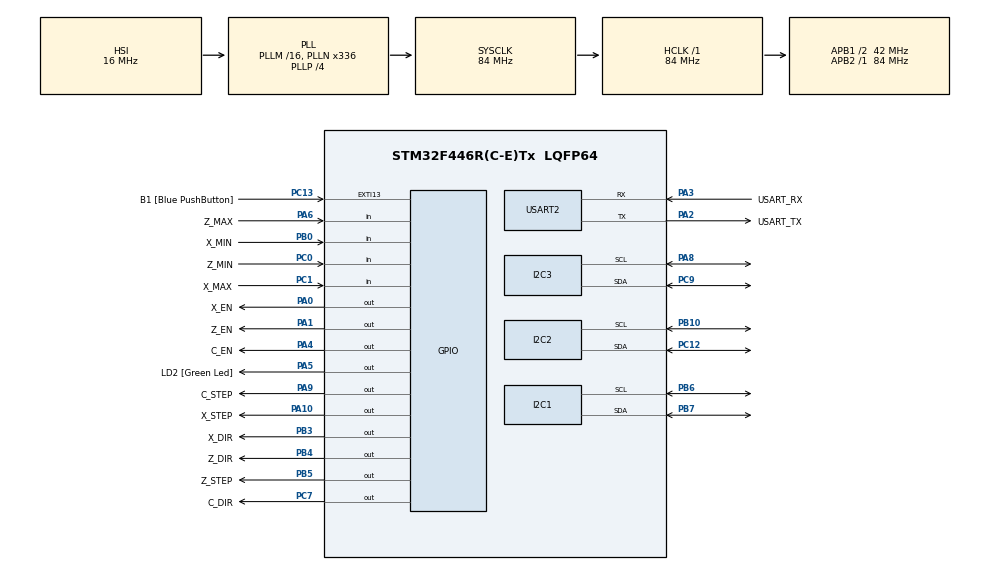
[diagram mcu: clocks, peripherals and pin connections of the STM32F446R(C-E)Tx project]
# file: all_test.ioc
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Mcu.Family=STM32F4
Mcu.Name=STM32F446R(C-E)Tx
Mcu.Package=LQFP64
NVIC.PriorityGroup=NVIC_PRIORITYGROUP_0
PA0-WKUP.GPIO_Label=X_EN
PA0-WKUP.Signal=GPIO_Output
PA1.GPIO_Label=Z_EN
PA1.Signal=GPIO_Output
PA10.GPIO_Label=X_STEP
PA10.Signal=GPIO_Output
PA13.GPIO_Label=TMS
PA13.Mode=Serial_Wire
PA13.Signal=SYS_JTMS-SWDIO
PA14.GPIO_Label=TCK
PA14.Mode=Serial_Wire
PA14.Signal=SYS_JTCK-SWCLK
PA2.GPIO_Label=USART_TX
PA2.Mode=Asynchronous
PA2.Signal=USART2_TX
PA3.GPIO_Label=USART_RX
PA3.Mode=Asynchronous
PA3.Signal=USART2_RX
PA4.GPIO_Label=C_EN
PA4.Signal=GPIO_Output
PA5.GPIO_Label=LD2 [Green Led]
PA5.Signal=GPIO_Output
PA6.GPIO_Label=Z_MAX
PA6.GPIO_Mode=GPIO_MODE_INPUT
PA6.GPIO_PuPd=GPIO_PULLUP
PA6.Signal=GPIO_Input
PA8.Mode=I2C
PA8.Signal=I2C3_SCL
PA9.GPIO_Label=C_STEP
PA9.Signal=GPIO_Output
PB0.GPIO_Label=X_MIN
PB0.GPIO_Mode=GPIO_MODE_INPUT
PB0.GPIO_PuPd=GPIO_PULLUP
PB0.Signal=GPIO_Input
PB10.Mode=I2C
PB10.Signal=I2C2_SCL
PB3.GPIO_Label=X_DIR
PB3.Signal=GPIO_Output
PB4.GPIO_Label=Z_DIR
PB4.GPIO_PuPd=GPIO_NOPULL
PB4.Signal=GPIO_Output
PB5.GPIO_Label=Z_STEP
PB5.Signal=GPIO_Output
PB6.Mode=I2C
PB6.Signal=I2C1_SCL
PB7.Mode=I2C
PB7.Signal=I2C1_SDA
PC0.GPIO_Label=Z_MIN
PC0.GPIO_Mode=GPIO_MODE_INPUT
PC0.GPIO_PuPd=GPIO_PULLUP
PC0.Signal=GPIO_Input
PC1.GPIO_Label=X_MAX
PC1.GPIO_Mode=GPIO_MODE_INPUT
PC1.GPIO_PuPd=GPIO_PULLUP
PC1.Signal=GPIO_Input
PC12.Mode=I2C
PC12.Signal=I2C2_SDA
PC13.GPIO_Label=B1 [Blue PushButton]
PC13.GPIO_ModeDefaultEXTI=GPIO_MODE_IT_FALLING
PC13.Signal=GPXTI13
PC14-OSC32_IN.Mode=LSE-External-Oscillator
PC14-OSC32_IN.Signal=RCC_OSC32_IN
PC15-OSC32_OUT.Mode=LSE-External-Oscillator
PC15-OSC32_OUT.Signal=RCC_OSC32_OUT
PC7.GPIO_Label=C_DIR
PC7.Signal=GPIO_Output
PC9.Mode=I2C
PC9.Signal=I2C3_SDA
PH0-OSC_IN.Mode=HSE-External-Oscillator
PH0-OSC_IN.Signal=RCC_OSC_IN
PH1-OSC_OUT.Mode=HSE-External-Oscillator
PH1-OSC_OUT.Signal=RCC_OSC_OUT
ProjectManager.HeapSize=0x200
ProjectManager.StackSize=0x400
ProjectManager.TargetToolchain=STM32CubeIDE
RCC.48MHZClocksFreq_Value=84000000
RCC.AHBFreq_Value=84000000
RCC.APB1CLKDivider=RCC_HCLK_DIV2
RCC.APB1Freq_Value=42000000
RCC.APB1TimFreq_Value=84000000
RCC.APB2Freq_Value=84000000
RCC.APB2TimFreq_Value=84000000
RCC.CortexFreq_Value=84000000
RCC.FLatency-AdvancedSettings=FLASH_LATENCY_2
RCC.HCLKFreq_Value=84000000
RCC.HSE_VALUE=8000000
RCC.HSI_VALUE=16000000
RCC.PLLN=336
RCC.PLLP=RCC_PLLP_DIV4
RCC.SYSCLKFreq_VALUE=84000000
RCC.SYSCLKSource=RCC_SYSCLKSOURCE_PLLCLK
RCC.USBFreq_Value=168000000
RCC.VCOOutputFreq_Value=336000000
USART2.VirtualMode=VM_ASYNC
board=NUCLEO-F446RE

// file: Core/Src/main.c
/* USER CODE BEGIN Header */
/**
  ******************************************************************************
  * @file           : main.c
  * @brief          : Main program body
  ******************************************************************************
  * @attention
  *
  * Copyright (c) 2026 STMicroelectronics.
  * All rights reserved.
  *
  * This software is licensed under terms that can be found in the LICENSE file
  * in the root directory of this software component.
  * If no LICENSE file comes with this software, it is provided AS-IS.
  *
  ******************************************************************************
  */
/* USER CODE END Header */
#include "main.h"

/* USER CODE BEGIN Includes */
#include <string.h>
#include <stdio.h>
#include <stdint.h>
/* USER CODE END Includes */

I2C_HandleTypeDef hi2c1;
I2C_HandleTypeDef hi2c2;
I2C_HandleTypeDef hi2c3;

UART_HandleTypeDef huart2;

void SystemClock_Config(void);
static void MX_GPIO_Init(void);
static void MX_I2C1_Init(void);
static void MX_I2C2_Init(void);
static void MX_I2C3_Init(void);
static void MX_USART2_UART_Init(void);

/* USER CODE BEGIN 0 */

	#define AS5600_ADDR        (0x36 << 1)
	#define AS5600_RAW_ANGLE_H 0x0C

	#define STEP_PULSE_US      5

	/*
	   LIMIT SWITCH CONNECTION:
	   Switch type: NO + C
	   CubeMX input: GPIO Input + Pull-Up

	   Normal state: HIGH
	   Triggered:    LOW

	   So active state is GPIO_PIN_RESET.
	*/
	#define LIMIT_ACTIVE_STATE GPIO_PIN_RESET
	#define USE_LIMITS 1

	/*
	   All drivers are configured as 1/64 microstepping.
	*/
	#define FULL_STEPS_PER_REV 200
	#define X_MICROSTEPS 64
	#define Z_MICROSTEPS 64
	#define C_MICROSTEPS 64

	#define X_STEPS_PER_REV (FULL_STEPS_PER_REV * X_MICROSTEPS)
	#define Z_STEPS_PER_REV (FULL_STEPS_PER_REV * Z_MICROSTEPS)
	#define C_STEPS_PER_REV (FULL_STEPS_PER_REV * C_MICROSTEPS)

	/*
	   C axis has no limit switch.
	   It will rotate 1 revolution forward, then 1 revolution backward.
	*/
	#define C_SOFT_LIMIT_STEPS C_STEPS_PER_REV

	typedef struct
	{
		const char *name;

		GPIO_TypeDef *stepPort;
		uint16_t stepPin;

		GPIO_TypeDef *dirPort;
		uint16_t dirPin;

		GPIO_TypeDef *enPort;
		uint16_t enPin;

		I2C_HandleTypeDef *hi2c;

		int32_t stepsPerRev;
		uint32_t stepIntervalUs;

		int8_t dir;
		int8_t dirInvert;
		int8_t encSign;

		int32_t cmdSteps;

		uint16_t lastRaw;
		int32_t encCounts;
		uint8_t encOk;

		uint32_t lastStepUs;

	} Axis_t;

	static uint32_t cyclesPerUs = 84;
	static uint32_t lastPrintMs = 0;

	/*
	   AXIS ORDER:
	   axis[0] = X
	   axis[1] = Z
	   axis[2] = C
	*/
	static Axis_t axis[3] =
	{
		{
			"X",
			GPIOA, GPIO_PIN_10,   // X_STEP PA10
			GPIOB, GPIO_PIN_3,    // X_DIR  PB3
			GPIOA, GPIO_PIN_0,    // X_EN   PA0
			&hi2c1,               // AS5600 X
			X_STEPS_PER_REV,
			2500,                 // step interval us; 1/64 olduğu için güvenli yavaş hız
			1,
			0,
			1,
			0,
			0,
			0,
			0,
			0
		},
		{
			"Z",
			GPIOB, GPIO_PIN_5,    // Z_STEP PB5
			GPIOB, GPIO_PIN_4,    // Z_DIR  PB4
			GPIOA, GPIO_PIN_1,    // Z_EN   PA1
			&hi2c2,               // AS5600 Z
			Z_STEPS_PER_REV,
			2500,
			1,
			0,
			1,
			0,
			0,
			0,
			0,
			0
		},
		{
			"C",
			GPIOA, GPIO_PIN_9,    // C_STEP PA9
			GPIOC, GPIO_PIN_7,    // C_DIR  PC7
			GPIOA, GPIO_PIN_4,    // C_EN   PA4
			&hi2c3,               // AS5600 C
			C_STEPS_PER_REV,
			2000,
			1,
			0,
			1,
			0,
			0,
			0,
			0,
			0
		}
	};

	static void DWT_Init_Custom(void)
	{
		cyclesPerUs = HAL_RCC_GetHCLKFreq() / 1000000UL;

		CoreDebug->DEMCR |= CoreDebug_DEMCR_TRCENA_Msk;
		DWT->CYCCNT = 0;
		DWT->CTRL |= DWT_CTRL_CYCCNTENA_Msk;
	}

	static uint32_t micros_custom(void)
	{
		return DWT->CYCCNT / cyclesPerUs;
	}

	static void delay_us_custom(uint32_t us)
	{
		uint32_t start = DWT->CYCCNT;
		uint32_t cycles = us * cyclesPerUs;

		while ((uint32_t)(DWT->CYCCNT - start) < cycles)
		{
			// wait
		}
	}

	static void UART_Print(const char *s)
	{
		HAL_UART_Transmit(&huart2, (uint8_t*)s, strlen(s), 100);
	}

	static uint8_t AS5600_ReadRaw(I2C_HandleTypeDef *hi2c, uint16_t *raw)
	{
		uint8_t data[2];

		HAL_StatusTypeDef status = HAL_I2C_Mem_Read(
			hi2c,
			AS5600_ADDR,
			AS5600_RAW_ANGLE_H,
			I2C_MEMADD_SIZE_8BIT,
			data,
			2,
			20
		);

		if (status != HAL_OK)
		{
			return 0;
		}

		*raw = ((uint16_t)data[0] << 8) | data[1];
		*raw &= 0x0FFF;

		return 1;
	}

	static int32_t abs_i32(int32_t x)
	{
		return (x < 0) ? -x : x;
	}

	static void format_x100(char *buf, uint32_t len, int32_t value)
	{
		char sign = '+';

		if (value < 0)
		{
			sign = '-';
			value = -value;
		}

		snprintf(buf, len, "%c%ld.%02ld",
				 sign,
				 (long)(value / 100),
				 (long)(value % 100));
	}

	static void Axis_SetDir(Axis_t *a, int8_t dir)
	{
		if (dir >= 0)
		{
			a->dir = 1;
		}
		else
		{
			a->dir = -1;
		}

		GPIO_PinState state;

		if (a->dir > 0)
		{
			state = GPIO_PIN_SET;
		}
		else
		{
			state = GPIO_PIN_RESET;
		}

		if (a->dirInvert)
		{
			state = (state == GPIO_PIN_SET) ? GPIO_PIN_RESET : GPIO_PIN_SET;
		}

		HAL_GPIO_WritePin(a->dirPort, a->dirPin, state);
	}

	static void Axis_Enable(Axis_t *a)
	{
		// TMC EN active LOW
		HAL_GPIO_WritePin(a->enPort, a->enPin, GPIO_PIN_RESET);
	}

	static void Axis_Disable(Axis_t *a)
	{
		HAL_GPIO_WritePin(a->enPort, a->enPin, GPIO_PIN_SET);
	}

	static void Axis_Init(Axis_t *a)
	{
		HAL_GPIO_WritePin(a->stepPort, a->stepPin, GPIO_PIN_RESET);
		Axis_SetDir(a, a->dir);
		Axis_Enable(a);

		uint16_t raw;

		if (AS5600_ReadRaw(a->hi2c, &raw))
		{
			a->lastRaw = raw;
			a->encCounts = 0;
			a->encOk = 1;
		}
		else
		{
			a->lastRaw = 0;
			a->encCounts = 0;
			a->encOk = 0;
		}

		a->cmdSteps = 0;
		a->lastStepUs = micros_custom();
	}

	static void Axis_UpdateEncoder(Axis_t *a)
	{
		uint16_t raw;

		if (!AS5600_ReadRaw(a->hi2c, &raw))
		{
			a->encOk = 0;
			return;
		}

		int16_t diff = (int16_t)raw - (int16_t)a->lastRaw;

		if (diff > 2048)
		{
			diff -= 4096;
		}
		else if (diff < -2048)
		{
			diff += 4096;
		}

		a->encCounts += diff;
		a->lastRaw = raw;
		a->encOk = 1;
	}

	static void Axis_StepIfDue(Axis_t *a, uint32_t nowUs)
	{
		if ((uint32_t)(nowUs - a->lastStepUs) >= a->stepIntervalUs)
		{
			a->lastStepUs = nowUs;

			HAL_GPIO_WritePin(a->stepPort, a->stepPin, GPIO_PIN_SET);
			delay_us_custom(STEP_PULSE_US);
			HAL_GPIO_WritePin(a->stepPort, a->stepPin, GPIO_PIN_RESET);

			a->cmdSteps += a->dir;
		}
	}

	static uint8_t Limit_IsActive(GPIO_TypeDef *port, uint16_t pin)
	{
	#if USE_LIMITS
		return (HAL_GPIO_ReadPin(port, pin) == LIMIT_ACTIVE_STATE);
	#else
		return 0;
	#endif
	}

	static void Check_Limits_And_Reverse(void)
	{
		uint8_t xMin = Limit_IsActive(GPIOB, GPIO_PIN_0); // X_MIN PB0
		uint8_t xMax = Limit_IsActive(GPIOC, GPIO_PIN_1); // X_MAX PC1

		if (xMin && axis[0].dir < 0)
		{
			Axis_SetDir(&axis[0], +1);
		}

		if (xMax && axis[0].dir > 0)
		{
			Axis_SetDir(&axis[0], -1);
		}

		uint8_t zMin = Limit_IsActive(GPIOC, GPIO_PIN_0); // Z_MIN PC0
		uint8_t zMax = Limit_IsActive(GPIOA, GPIO_PIN_6); // Z_MAX PA6

		if (zMin && axis[1].dir < 0)
		{
			Axis_SetDir(&axis[1], +1);
		}

		if (zMax && axis[1].dir > 0)
		{
			Axis_SetDir(&axis[1], -1);
		}

		if (axis[2].cmdSteps >= C_SOFT_LIMIT_STEPS && axis[2].dir > 0)
		{
			Axis_SetDir(&axis[2], -1);
		}

		if (axis[2].cmdSteps <= -C_SOFT_LIMIT_STEPS && axis[2].dir < 0)
		{
			Axis_SetDir(&axis[2], +1);
		}
	}

	static void Print_Axis_Status(Axis_t *a)
	{
		char line[240];

		Axis_UpdateEncoder(a);

		int32_t expected_x100 =
			(int32_t)(((int64_t)a->cmdSteps * 36000LL) / a->stepsPerRev);

		int32_t measured_x100 =
			(int32_t)(((int64_t)a->encCounts * 36000LL) / 4096LL);

		measured_x100 *= a->encSign;

		int32_t error_x100 = measured_x100 - expected_x100;

		char expStr[20];
		char encStr[20];
		char errStr[20];

		format_x100(expStr, sizeof(expStr), expected_x100);
		format_x100(encStr, sizeof(encStr), measured_x100);
		format_x100(errStr, sizeof(errStr), error_x100);

		uint32_t absExpected = abs_i32(expected_x100);
		uint32_t absError = abs_i32(error_x100);

		if (a->encOk && absExpected > 100)
		{
			uint32_t errPct_x100 = (absError * 10000UL) / absExpected;

			snprintf(line, sizeof(line),
					 "%s | CMD:%s deg | ENC:%s deg | ERR:%s deg | ERR:%lu.%02lu%% | DIR:%+d\r\n",
					 a->name,
					 expStr,
					 encStr,
					 errStr,
					 (unsigned long)(errPct_x100 / 100),
					 (unsigned long)(errPct_x100 % 100),
					 a->dir);
		}
		else if (a->encOk)
		{
			snprintf(line, sizeof(line),
					 "%s | CMD:%s deg | ENC:%s deg | ERR:%s deg | ERR:-- | DIR:%+d\r\n",
					 a->name,
					 expStr,
					 encStr,
					 errStr,
					 a->dir);
		}
		else
		{
			snprintf(line, sizeof(line),
					 "%s | CMD:%s deg | ENC:ERR | DIR:%+d\r\n",
					 a->name,
					 expStr,
					 a->dir);
		}

		UART_Print(line);
	}

	static void Print_All_Status(void)
	{
		char header[180];

		uint8_t xMin = Limit_IsActive(GPIOB, GPIO_PIN_0);
		uint8_t xMax = Limit_IsActive(GPIOC, GPIO_PIN_1);
		uint8_t zMin = Limit_IsActive(GPIOC, GPIO_PIN_0);
		uint8_t zMax = Limit_IsActive(GPIOA, GPIO_PIN_6);

		snprintf(header, sizeof(header),
				 "\r\nLIMITS | X_MIN:%u X_MAX:%u Z_MIN:%u Z_MAX:%u\r\n",
				 xMin, xMax, zMin, zMax);

		UART_Print(header);

		Print_Axis_Status(&axis[0]);
		Print_Axis_Status(&axis[1]);
		Print_Axis_Status(&axis[2]);
	}

/* USER CODE END 0 */

int main(void)
{

  /* MCU Configuration--------------------------------------------------------*/

  /* Reset of all peripherals, Initializes the Flash interface and the Systick. */
  HAL_Init();

  /* Configure the system clock */
  SystemClock_Config();

  /* Initialize all configured peripherals */
  MX_GPIO_Init();
  MX_I2C1_Init();
  MX_I2C2_Init();
  MX_I2C3_Init();
  MX_USART2_UART_Init();
  /* USER CODE BEGIN 2 */

  DWT_Init_Custom();

  HAL_Delay(500);

  Axis_Init(&axis[0]);
  Axis_Init(&axis[1]);
  Axis_Init(&axis[2]);

  UART_Print("\r\nSystem motor + encoder comparison test started.\r\n");
  UART_Print("Switch type: NO + C, Pull-Up, active LOW.\r\n");
  UART_Print("All axes microstep: 1/64.\r\n");
  UART_Print("TMC EN active LOW. Motors enabled.\r\n");
  UART_Print("If encoder direction is opposite, change encSign from 1 to -1 for that axis.\r\n\r\n");

  lastPrintMs = HAL_GetTick();

  /* USER CODE END 2 */

  /* Infinite loop */
  while (1)
  {

    /* USER CODE BEGIN 3 */
	  uint32_t nowUs = micros_custom();

	  Check_Limits_And_Reverse();

	  Axis_StepIfDue(&axis[0], nowUs);
	  Axis_StepIfDue(&axis[1], nowUs);
	  Axis_StepIfDue(&axis[2], nowUs);

	  if ((HAL_GetTick() - lastPrintMs) >= 500)
	  {
	      lastPrintMs = HAL_GetTick();
	      Print_All_Status();
	  }
  }
  /* USER CODE END 3 */
}

void SystemClock_Config(void)
{
  RCC_OscInitTypeDef RCC_OscInitStruct = {0};
  RCC_ClkInitTypeDef RCC_ClkInitStruct = {0};

  /** Configure the main internal regulator output voltage
  */
  __HAL_RCC_PWR_CLK_ENABLE();
  __HAL_PWR_VOLTAGESCALING_CONFIG(PWR_REGULATOR_VOLTAGE_SCALE3);

  /** Initializes the RCC Oscillators according to the specified parameters
  * in the RCC_OscInitTypeDef structure.
  */
  RCC_OscInitStruct.OscillatorType = RCC_OSCILLATORTYPE_HSI;
  RCC_OscInitStruct.HSIState = RCC_HSI_ON;
  RCC_OscInitStruct.HSICalibrationValue = RCC_HSICALIBRATION_DEFAULT;
  RCC_OscInitStruct.PLL.PLLState = RCC_PLL_ON;
  RCC_OscInitStruct.PLL.PLLSource = RCC_PLLSOURCE_HSI;
  RCC_OscInitStruct.PLL.PLLM = 16;
  RCC_OscInitStruct.PLL.PLLN = 336;
  RCC_OscInitStruct.PLL.PLLP = RCC_PLLP_DIV4;
  RCC_OscInitStruct.PLL.PLLQ = 2;
  RCC_OscInitStruct.PLL.PLLR = 2;
  if (HAL_RCC_OscConfig(&RCC_OscInitStruct) != HAL_OK)
  {
    Error_Handler();
  }

  /** Initializes the CPU, AHB and APB buses clocks
  */
  RCC_ClkInitStruct.ClockType = RCC_CLOCKTYPE_HCLK|RCC_CLOCKTYPE_SYSCLK
                              |RCC_CLOCKTYPE_PCLK1|RCC_CLOCKTYPE_PCLK2;
  RCC_ClkInitStruct.SYSCLKSource = RCC_SYSCLKSOURCE_PLLCLK;
  RCC_ClkInitStruct.AHBCLKDivider = RCC_SYSCLK_DIV1;
  RCC_ClkInitStruct.APB1CLKDivider = RCC_HCLK_DIV2;
  RCC_ClkInitStruct.APB2CLKDivider = RCC_HCLK_DIV1;

  if (HAL_RCC_ClockConfig(&RCC_ClkInitStruct, FLASH_LATENCY_2) != HAL_OK)
  {
    Error_Handler();
  }
}

static void MX_I2C1_Init(void)
{

  hi2c1.Instance = I2C1;
  hi2c1.Init.ClockSpeed = 100000;
  hi2c1.Init.DutyCycle = I2C_DUTYCYCLE_2;
  hi2c1.Init.OwnAddress1 = 0;
  hi2c1.Init.AddressingMode = I2C_ADDRESSINGMODE_7BIT;
  hi2c1.Init.DualAddressMode = I2C_DUALADDRESS_DISABLE;
  hi2c1.Init.OwnAddress2 = 0;
  hi2c1.Init.GeneralCallMode = I2C_GENERALCALL_DISABLE;
  hi2c1.Init.NoStretchMode = I2C_NOSTRETCH_DISABLE;
  if (HAL_I2C_Init(&hi2c1) != HAL_OK)
  {
    Error_Handler();
  }

}

static void MX_I2C2_Init(void)
{

  hi2c2.Instance = I2C2;
  hi2c2.Init.ClockSpeed = 100000;
  hi2c2.Init.DutyCycle = I2C_DUTYCYCLE_2;
  hi2c2.Init.OwnAddress1 = 0;
  hi2c2.Init.AddressingMode = I2C_ADDRESSINGMODE_7BIT;
  hi2c2.Init.DualAddressMode = I2C_DUALADDRESS_DISABLE;
  hi2c2.Init.OwnAddress2 = 0;
  hi2c2.Init.GeneralCallMode = I2C_GENERALCALL_DISABLE;
  hi2c2.Init.NoStretchMode = I2C_NOSTRETCH_DISABLE;
  if (HAL_I2C_Init(&hi2c2) != HAL_OK)
  {
    Error_Handler();
  }

}

static void MX_I2C3_Init(void)
{

  hi2c3.Instance = I2C3;
  hi2c3.Init.ClockSpeed = 100000;
  hi2c3.Init.DutyCycle = I2C_DUTYCYCLE_2;
  hi2c3.Init.OwnAddress1 = 0;
  hi2c3.Init.AddressingMode = I2C_ADDRESSINGMODE_7BIT;
  hi2c3.Init.DualAddressMode = I2C_DUALADDRESS_DISABLE;
  hi2c3.Init.OwnAddress2 = 0;
  hi2c3.Init.GeneralCallMode = I2C_GENERALCALL_DISABLE;
  hi2c3.Init.NoStretchMode = I2C_NOSTRETCH_DISABLE;
  if (HAL_I2C_Init(&hi2c3) != HAL_OK)
  {
    Error_Handler();
  }

}

static void MX_USART2_UART_Init(void)
{

  huart2.Instance = USART2;
  huart2.Init.BaudRate = 115200;
  huart2.Init.WordLength = UART_WORDLENGTH_8B;
  huart2.Init.StopBits = UART_STOPBITS_1;
  huart2.Init.Parity = UART_PARITY_NONE;
  huart2.Init.Mode = UART_MODE_TX_RX;
  huart2.Init.HwFlowCtl = UART_HWCONTROL_NONE;
  huart2.Init.OverSampling = UART_OVERSAMPLING_16;
  if (HAL_UART_Init(&huart2) != HAL_OK)
  {
    Error_Handler();
  }

}

static void MX_GPIO_Init(void)
{
  GPIO_InitTypeDef GPIO_InitStruct = {0};

  /* GPIO Ports Clock Enable */
  __HAL_RCC_GPIOC_CLK_ENABLE();
  __HAL_RCC_GPIOH_CLK_ENABLE();
  __HAL_RCC_GPIOA_CLK_ENABLE();
  __HAL_RCC_GPIOB_CLK_ENABLE();

  /*Configure GPIO pin Output Level */
  HAL_GPIO_WritePin(GPIOA, X_EN_Pin|Z_EN_Pin|C_EN_Pin|LD2_Pin
                          |C_STEP_Pin|X_STEP_Pin, GPIO_PIN_RESET);

  /*Configure GPIO pin Output Level */
  HAL_GPIO_WritePin(C_DIR_GPIO_Port, C_DIR_Pin, GPIO_PIN_RESET);

  /*Configure GPIO pin Output Level */
  HAL_GPIO_WritePin(GPIOB, X_DIR_Pin|Z_DIR_Pin|Z_STEP_Pin, GPIO_PIN_RESET);

  /*Configure GPIO pin : B1_Pin */
  GPIO_InitStruct.Pin = B1_Pin;
  GPIO_InitStruct.Mode = GPIO_MODE_IT_FALLING;
  GPIO_InitStruct.Pull = GPIO_NOPULL;
  HAL_GPIO_Init(B1_GPIO_Port, &GPIO_InitStruct);

  /*Configure GPIO pins : Z_MIN_Pin X_MAX_Pin */
  GPIO_InitStruct.Pin = Z_MIN_Pin|X_MAX_Pin;
  GPIO_InitStruct.Mode = GPIO_MODE_INPUT;
  GPIO_InitStruct.Pull = GPIO_PULLUP;
  HAL_GPIO_Init(GPIOC, &GPIO_InitStruct);

  /*Configure GPIO pins : X_EN_Pin Z_EN_Pin C_EN_Pin LD2_Pin
                           C_STEP_Pin X_STEP_Pin */
  GPIO_InitStruct.Pin = X_EN_Pin|Z_EN_Pin|C_EN_Pin|LD2_Pin
                          |C_STEP_Pin|X_STEP_Pin;
  GPIO_InitStruct.Mode = GPIO_MODE_OUTPUT_PP;
  GPIO_InitStruct.Pull = GPIO_NOPULL;
  GPIO_InitStruct.Speed = GPIO_SPEED_FREQ_LOW;
  HAL_GPIO_Init(GPIOA, &GPIO_InitStruct);

  /*Configure GPIO pin : Z_MAX_Pin */
  GPIO_InitStruct.Pin = Z_MAX_Pin;
  GPIO_InitStruct.Mode = GPIO_MODE_INPUT;
  GPIO_InitStruct.Pull = GPIO_PULLUP;
  HAL_GPIO_Init(Z_MAX_GPIO_Port, &GPIO_InitStruct);

  /*Configure GPIO pin : X_MIN_Pin */
  GPIO_InitStruct.Pin = X_MIN_Pin;
  GPIO_InitStruct.Mode = GPIO_MODE_INPUT;
  GPIO_InitStruct.Pull = GPIO_PULLUP;
  HAL_GPIO_Init(X_MIN_GPIO_Port, &GPIO_InitStruct);

  /*Configure GPIO pin : C_DIR_Pin */
  GPIO_InitStruct.Pin = C_DIR_Pin;
  GPIO_InitStruct.Mode = GPIO_MODE_OUTPUT_PP;
  GPIO_InitStruct.Pull = GPIO_NOPULL;
  GPIO_InitStruct.Speed = GPIO_SPEED_FREQ_LOW;
  HAL_GPIO_Init(C_DIR_GPIO_Port, &GPIO_InitStruct);

  /*Configure GPIO pins : X_DIR_Pin Z_DIR_Pin Z_STEP_Pin */
  GPIO_InitStruct.Pin = X_DIR_Pin|Z_DIR_Pin|Z_STEP_Pin;
  GPIO_InitStruct.Mode = GPIO_MODE_OUTPUT_PP;
  GPIO_InitStruct.Pull = GPIO_NOPULL;
  GPIO_InitStruct.Speed = GPIO_SPEED_FREQ_LOW;
  HAL_GPIO_Init(GPIOB, &GPIO_InitStruct);

}

void Error_Handler(void)
{
  __disable_irq();
  while (1)
  {
  }
}
